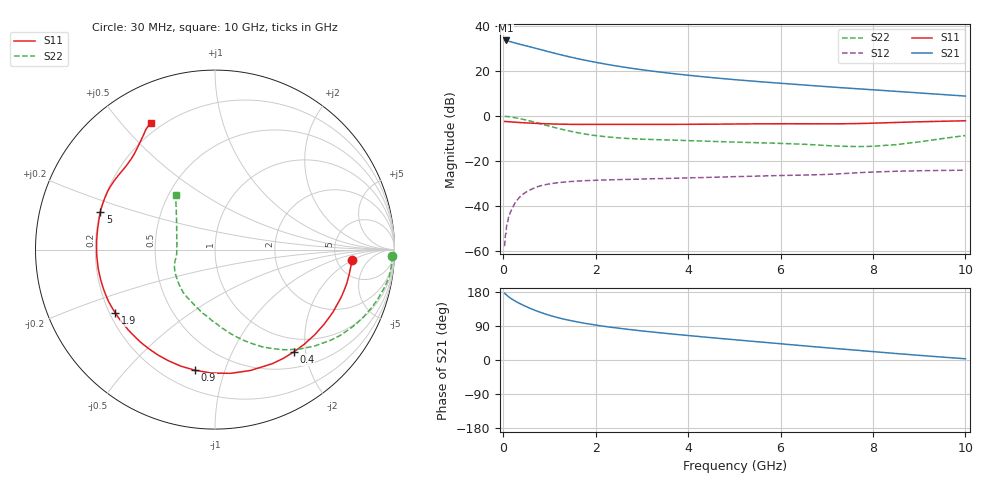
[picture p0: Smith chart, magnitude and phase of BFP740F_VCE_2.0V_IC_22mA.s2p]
! Infineon Technologies  Discrete & RF Semiconductors
! BFP740F
! VCE =  2.0 V,  IC =  22 mA
! Common Emitter S-Parameters:  Oct 2012
# GHz  S  MA  R  50
!  f  S11  S21  S12  S22
! GHz  MAG  ANG  MAG  ANG  MAG  ANG  MAG  ANG
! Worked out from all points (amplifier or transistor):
!   99 points, 30 MHz to 10 GHz, reference 50 ohm
!   highest |S21| = 33.7 dB at 50 MHz (marker M1)
!   |S21| within 3 dB of that: start of sweep to 612.2 MHz
!   unconditionally stable (mu >= 1): 5.722 GHz to end of sweep
!   at 350 MHz: K = 0.15, MSG = 34.0 dB, |S12| = -36.1 dB
!   at 3.5 GHz: K = 0.71, MSG = 23.5 dB, |S12| = -27.7 dB
!   at 10 GHz: K = 1.21, MAG = 13.7 dB, |S12| = -24.0 dB
!   S11 on the Smith chart (normalised r, x): 30 MHz: 6.94, -1.96; 400 MHz: 0.75, -1.78; 900 MHz: 0.32, -0.80; 1.9 GHz: 0.22, -0.28; 5 GHz: 0.20, +0.15; 10 GHz: 0.16, +0.60
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0.03  0.7648 -4.4  48.1 176.1  0.0013 83.5  0.9864 -2.1
0.05  0.7627 -7.3  48.16 174.0  0.0024 87.1  0.9884 -4.0
0.1  0.7579 -14.4  47.03 168.5  0.0046 83.3  0.9814 -8.8
0.13  0.7533 -18.6  46.03 165.6  0.006 84.1  0.9717 -11.4
0.2  0.7438 -28.0  43.93 159.7  0.0092 76.4  0.9473 -17.1
0.3  0.7306 -40.5  41.15 152.7  0.0137 71.7  0.9075 -24.6
0.4  0.7199 -52.4  38.72 146.5  0.0175 65.6  0.8638 -31.5
0.45  0.7155 -57.9  37.58 143.5  0.0193 63.2  0.843 -34.8
0.6  0.7018 -73.7  34.35 135.4  0.0236 55.9  0.773 -44.0
0.7  0.6947 -82.9  32.26 130.5  0.0262 52.0  0.7276 -49.6
0.9  0.6816 -99.4  28.54 121.8  0.03 45.2  0.6403 -59.6
1.1  0.6713 -112.9  25.23 114.4  0.0325 39.8  0.5646 -68.3
1.3  0.664 -124.0  22.44 108.2  0.0343 35.7  0.5023 -75.9
1.7  0.6575 -141.0  18.15 98.3  0.0367 30.3  0.4135 -88.8
1.9  0.658 -147.6  16.52 94.2  0.0375 28.5  0.3833 -94.8
2.5  0.6586 -162.6  12.82 83.9  0.0391 25.3  0.3304 -110.0
3.4  0.6595 -177.7  9.548 71.7  0.0411 23.2  0.3006 -124.8
5  0.6716 162.0  6.503 53.6  0.0455 22.7  0.2667 -142.6
5.1  0.6731 160.9  6.374 52.5  0.0458 22.7  0.265 -143.9
6.7  0.6789 143.5  4.774 35.4  0.0499 22.6  0.2327 -163.5
8.5  0.7269 125.3  3.567 17.1  0.06 20.1  0.2339 155.9
10  0.7914 117.0  2.801 3.2  0.0633 15.1  0.3732 126.1
